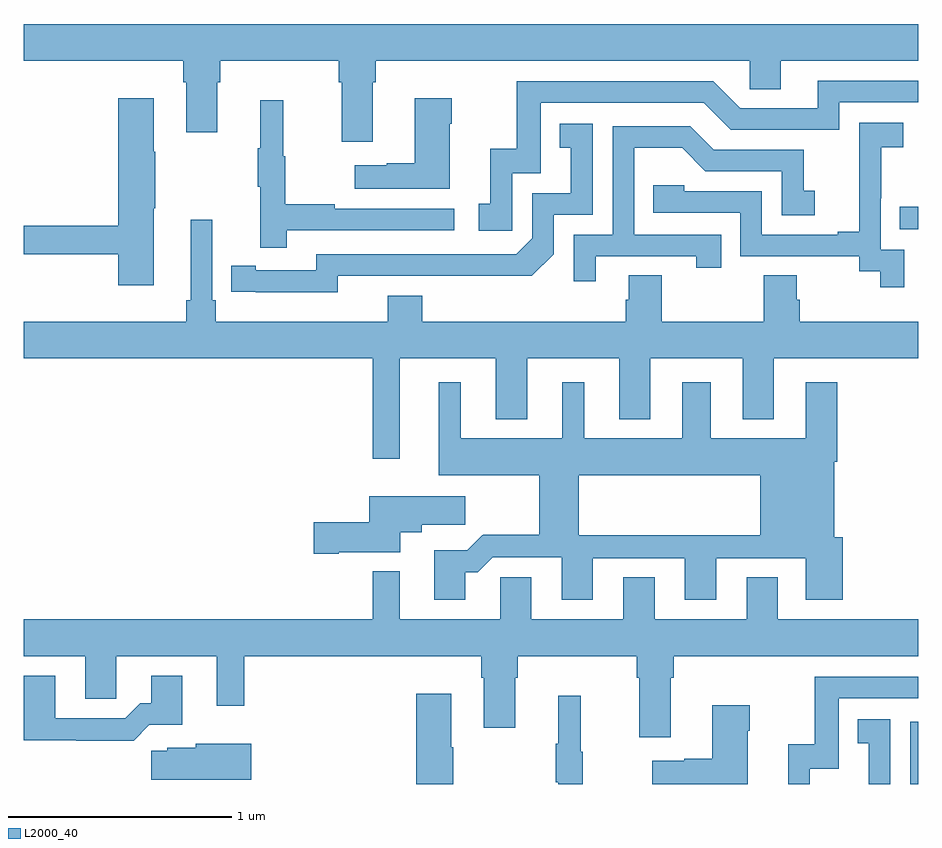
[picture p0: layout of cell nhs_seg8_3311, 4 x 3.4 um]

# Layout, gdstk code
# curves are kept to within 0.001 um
import gdstk
lib = gdstk.Library(unit=1e-6, precision=1e-09)
def R(c, l, rs):  # rectangles x0, y0, x1, y1
    for r in rs: c.add(gdstk.rectangle(r[:2], r[2:], *l))
def P(c, l, *ps):  # polygons
    for p in ps: c.add(gdstk.Polygon(p, *l))
L2000_40 = (2000, 40)

nhs_seg8_3311 = lib.new_cell('nhs_seg8_3311')
R(nhs_seg8_3311, L2000_40, [(318.966,1143.9,319,1144.179), (318.919,1146.381,319,1146.482)])
P(nhs_seg8_3311, L2000_40, [(316.561,1147.04),(316.574,1147.04),(316.574,1147.136),(318.246,1147.136),(318.246,1147.009),(318.385,1147.009),(318.385,1147.136),(319,1147.136),(319,1147.3),(315,1147.3),(315,1147.136),(315.713,1147.136),(315.713,1147.04),(315.725,1147.04),(315.725,1146.816),(315.865,1146.816),(315.865,1147.04),(315.878,1147.04),(315.878,1147.136),(316.409,1147.136),(316.409,1147.04),(316.421,1147.04),(316.421,1146.774),(316.561,1146.774)],
  [(317.184,1146.633),(317.313,1146.633),(317.313,1146.948),(318.042,1146.948),(318.162,1146.828),(318.648,1146.828),(318.648,1146.951),(319,1146.951),(319,1147.047),(318.551,1147.047),(318.551,1146.924),(318.204,1146.924),(318.084,1147.044),(317.205,1147.044),(317.205,1146.742),(317.087,1146.742),(317.087,1146.495),(317.034,1146.495),(317.034,1146.375),(317.184,1146.375)],
  [(316.906,1146.854),(316.914,1146.854),(316.914,1146.967),(316.748,1146.967),(316.748,1146.677),(316.622,1146.677),(316.622,1146.667),(316.479,1146.667),(316.479,1146.563),(316.906,1146.563)],
  [(315.58,1146.475),(315.588,1146.475),(315.588,1146.728),(315.58,1146.728),(315.58,1146.967),(315.422,1146.967),(315.422,1146.398),(315,1146.398),(315,1146.27),(315.422,1146.27),(315.422,1146.132),(315.58,1146.132)],
  [(316.175,1146.378),(316.924,1146.378),(316.924,1146.474),(316.391,1146.474),(316.391,1146.494),(316.168,1146.494),(316.168,1146.708),(316.16,1146.708),(316.16,1146.958),(316.058,1146.958),(316.058,1146.745),(316.047,1146.745),(316.047,1146.571),(316.058,1146.571),(316.058,1146.3),(316.175,1146.3)],
  [(318.939,1146.291),(318.834,1146.291),(318.834,1146.521),(318.836,1146.521),(318.836,1146.749),(318.934,1146.749),(318.934,1146.859),(318.736,1146.859),(318.736,1146.653),(318.737,1146.653),(318.737,1146.37),(318.641,1146.37),(318.641,1146.357),(318.3,1146.357),(318.3,1146.552),(317.955,1146.552),(317.955,1146.579),(317.815,1146.579),(317.815,1146.456),(318.204,1146.456),(318.204,1146.261),(318.738,1146.261),(318.738,1146.193),(318.831,1146.193),(318.831,1146.123),(318.939,1146.123)],
  [(316.404,1146.174),(317.272,1146.173),(317.37,1146.27),(317.37,1146.447),(317.544,1146.447),(317.544,1146.853),(317.398,1146.853),(317.398,1146.747),(317.447,1146.747),(317.447,1146.543),(317.274,1146.543),(317.274,1146.342),(317.202,1146.27),(316.308,1146.27),(316.308,1146.198),(316.036,1146.198),(316.036,1146.218),(315.928,1146.218),(315.928,1146.102),(316.404,1146.101)],
  [(317.557,1146.261),(318.008,1146.261),(318.008,1146.21),(318.119,1146.21),(318.119,1146.357),(317.73,1146.357),(317.73,1146.746),(317.944,1146.746),(318.048,1146.642),(318.39,1146.642),(318.39,1146.444),(318.538,1146.444),(318.538,1146.553),(318.489,1146.553),(318.489,1146.738),(318.085,1146.738),(317.98,1146.843),(317.634,1146.843),(317.634,1146.357),(317.46,1146.357),(317.46,1146.15),(317.557,1146.15)],
  [(317.853,1146.176),(317.705,1146.176),(317.705,1146.066),(317.693,1146.066),(317.693,1145.968),(316.781,1145.968),(316.781,1146.085),(316.628,1146.085),(316.628,1145.968),(315.857,1145.968),(315.857,1146.064),(315.843,1146.064),(315.843,1146.424),(315.746,1146.424),(315.746,1146.064),(315.727,1146.064),(315.727,1145.968),(315,1145.968),(315,1145.804),(316.56,1145.804),(316.56,1145.355),(316.681,1145.355),(316.681,1145.804),(317.111,1145.804),(317.111,1145.531),(317.251,1145.531),(317.251,1145.804),(317.663,1145.804),(317.663,1145.531),(317.803,1145.531),(317.803,1145.804),(318.215,1145.804),(318.215,1145.531),(318.355,1145.531),(318.355,1145.804),(319,1145.804),(319,1145.968),(318.47,1145.968),(318.47,1146.066),(318.457,1146.066),(318.457,1146.176),(318.31,1146.176),(318.31,1145.968),(317.853,1145.968)],
  [(316.835,1144.945),(316.835,1144.725),(316.975,1144.725),(316.975,1144.847),(317.03,1144.847),(317.097,1144.914),(317.405,1144.914),(317.405,1144.725),(317.545,1144.725),(317.545,1144.911),(317.957,1144.911),(317.957,1144.725),(318.097,1144.725),(318.097,1144.911),(318.497,1144.911),(318.497,1144.725),(318.662,1144.725),(318.662,1145.004),(318.625,1145.004),(318.625,1145.342),(318.638,1145.342),(318.638,1145.698),(318.497,1145.698),(318.497,1145.446),(318.073,1145.446),(318.073,1145.698),(317.945,1145.698),(317.945,1145.446),(317.506,1145.446),(317.506,1145.698),(317.408,1145.698),(317.408,1145.446),(316.954,1145.446),(316.954,1145.698),(316.856,1145.698),(316.856,1145.282),(317.305,1145.282),(317.305,1145.015),(317.054,1145.015),(317.051,1145.012),(317.483,1145.012),(317.483,1145.282),(318.293,1145.282),(318.293,1145.012),(317.051,1145.012),(316.984,1144.945)],
  [(316.408,1144.937),(316.684,1144.937),(316.684,1145.027),(316.78,1145.027),(316.78,1145.059),(316.975,1145.059),(316.975,1145.188),(316.544,1145.188),(316.544,1145.072),(316.296,1145.072),(316.296,1144.93),(316.408,1144.93)],
  [(317.893,1144.376),(317.906,1144.376),(317.906,1144.472),(319,1144.472),(319,1144.636),(318.373,1144.636),(318.373,1144.826),(318.233,1144.826),(318.233,1144.636),(317.821,1144.636),(317.821,1144.826),(317.681,1144.826),(317.681,1144.636),(317.269,1144.636),(317.269,1144.826),(317.13,1144.826),(317.13,1144.636),(316.681,1144.636),(316.681,1144.852),(316.56,1144.852),(316.56,1144.636),(315,1144.636),(315,1144.472),(315.275,1144.472),(315.275,1144.282),(315.414,1144.282),(315.414,1144.472),(315.863,1144.472),(315.863,1144.251),(315.985,1144.251),(315.985,1144.472),(317.045,1144.472),(317.045,1144.376),(317.057,1144.376),(317.057,1144.152),(317.197,1144.152),(317.197,1144.376),(317.21,1144.376),(317.21,1144.472),(317.741,1144.472),(317.741,1144.376),(317.753,1144.376),(317.753,1144.11),(317.893,1144.11)],
  [(315.561,1144.164),(315.709,1144.164),(315.709,1144.384),(315.569,1144.384),(315.569,1144.261),(315.52,1144.261),(315.453,1144.194),(315.139,1144.194),(315.139,1144.384),(315,1144.384),(315,1144.096),(315.235,1144.096),(315.235,1144.094),(315.491,1144.094)],
  [(318.516,1143.969),(318.645,1143.969),(318.645,1144.284),(319,1144.284),(319,1144.38),(318.537,1144.38),(318.537,1144.078),(318.419,1144.078),(318.419,1143.9),(318.516,1143.9)],
  [(316.92,1144.064),(316.912,1144.064),(316.912,1144.303),(316.754,1144.303),(316.754,1143.9),(316.92,1143.9)],
  [(317.5,1144.044),(317.492,1144.044),(317.492,1144.294),(317.39,1144.294),(317.39,1144.081),(317.379,1144.081),(317.379,1143.907),(317.39,1143.907),(317.39,1143.9),(317.5,1143.9)],
  [(318.238,1144.139),(318.246,1144.139),(318.246,1144.252),(318.08,1144.252),(318.08,1144.013),(317.954,1144.013),(317.954,1144.003),(317.811,1144.003),(317.811,1143.9),(318.238,1143.9)],
  [(318.876,1144.189),(318.73,1144.189),(318.73,1144.083),(318.779,1144.083),(318.779,1143.9),(318.876,1143.9)],
  [(316.018,1144.081),(315.768,1144.081),(315.768,1144.063),(315.642,1144.063),(315.642,1144.049),(315.57,1144.049),(315.57,1143.92),(316.018,1143.92)])

lib.write_gds('nhs_seg8_3311.gds')
